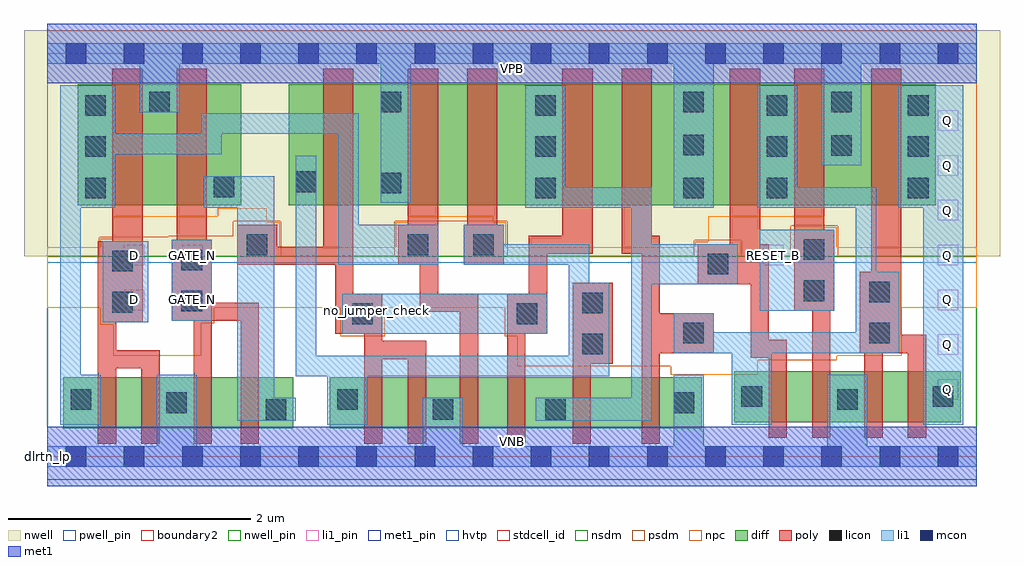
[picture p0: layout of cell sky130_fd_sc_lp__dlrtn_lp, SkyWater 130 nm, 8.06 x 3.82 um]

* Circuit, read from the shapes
.subckt sky130_fd_sc_lp__dlrtn_lp D GATE_N Q RESET_B VGND VNB VPB VPWR
XM1 n1 D n2 VNB sky130_fd_pr__nfet_01v8 w=0.42 l=0.15
XM2 VGND D n1 VNB sky130_fd_pr__nfet_01v8 w=0.42 l=0.15
XM3 n3 GATE_N VGND VNB sky130_fd_pr__nfet_01v8 w=0.42 l=0.15
XM4 n4 GATE_N n3 VNB sky130_fd_pr__nfet_01v8 w=0.42 l=0.15
XM5 n5 n4 n6 VNB sky130_fd_pr__nfet_01v8 w=0.42 l=0.15
XM6 VGND n4 n5 VNB sky130_fd_pr__nfet_01v8 w=0.42 l=0.15
XM7 n7 n2 VGND VNB sky130_fd_pr__nfet_01v8 w=0.42 l=0.15
XM8 n8 n4 n7 VNB sky130_fd_pr__nfet_01v8 w=0.42 l=0.15
XM9 n9 n6 n8 VNB sky130_fd_pr__nfet_01v8 w=0.42 l=0.15
XM10 VGND n10 n9 VNB sky130_fd_pr__nfet_01v8 w=0.42 l=0.15
XM11 n11 n8 n10 VNB sky130_fd_pr__nfet_01v8 w=0.42 l=0.15
XM12 VGND RESET_B n11 VNB sky130_fd_pr__nfet_01v8 w=0.42 l=0.15
XM13 n12 n10 VGND VNB sky130_fd_pr__nfet_01v8 w=0.42 l=0.15
XM14 Q n10 n12 VNB sky130_fd_pr__nfet_01v8 w=0.42 l=0.15
XM15 VPWR D n2 VPB sky130_fd_pr__pfet_01v8_hvt w=1 l=0.25
XM16 n4 GATE_N VPWR VPB sky130_fd_pr__pfet_01v8_hvt w=1 l=0.25
XM17 VPWR n4 n6 VPB sky130_fd_pr__pfet_01v8_hvt w=1 l=0.25
XM18 n13 n2 VPWR VPB sky130_fd_pr__pfet_01v8_hvt w=1 l=0.25
XM19 n8 n6 n13 VPB sky130_fd_pr__pfet_01v8_hvt w=1 l=0.25
XM20 n14 n4 n8 VPB sky130_fd_pr__pfet_01v8_hvt w=1 l=0.25
XM21 VPWR n10 n14 VPB sky130_fd_pr__pfet_01v8_hvt w=1 l=0.25
XM22 n10 n8 VPWR VPB sky130_fd_pr__pfet_01v8_hvt w=1 l=0.25
XM23 VPWR RESET_B n10 VPB sky130_fd_pr__pfet_01v8_hvt w=1 l=0.25
XM24 Q n10 VPWR VPB sky130_fd_pr__pfet_01v8_hvt w=1 l=0.25
.ends

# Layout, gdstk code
import gdstk
lib = gdstk.Library(unit=1e-6, precision=1e-09)
def R(c, l, rs):  # rectangles x0, y0, x1, y1
    for r in rs: c.add(gdstk.rectangle(r[:2], r[2:], *l))
def A(c, l, x, y, w, h, nx, ny, dx, dy):  # array of equal rectangles
    R(c, l, [(x+i*dx, y+j*dy, x+i*dx+w, y+j*dy+h) for i in range(nx) for j in range(ny)])
def P(c, l, *ps):  # polygons
    for p in ps: c.add(gdstk.Polygon(p, *l))
nwell_pin = (64, 16)
nwell = (64, 20)
diff = (65, 20)
poly = (66, 20)
licon = (66, 44)
li1_pin = (67, 16)
li1 = (67, 20)
mcon = (67, 44)
met1_pin = (68, 16)
met1 = (68, 20)
hvtp = (78, 44)
stdcell_id = (81, 4)
nsdm = (93, 44)
psdm = (94, 20)
npc = (95, 20)
pwell_pin = (122, 16)
boundary2 = (236, 0)

sky130_fd_sc_lp__dlrtn_l = lib.new_cell('sky130_fd_sc_lp__dlrtn_lp')
R(sky130_fd_sc_lp__dlrtn_l, nwell_pin, [(0,3.085,7.68,3.33)])
R(sky130_fd_sc_lp__dlrtn_l, nwell, [(-0.19,1.655,7.87,3.52)])
R(sky130_fd_sc_lp__dlrtn_l, diff, [(0.135,0.235,2.035,0.655), (2.335,0.235,5.405,0.655), (5.675,0.285,7.545,0.705), (0.255,2.075,1.605,3.075), (1.995,2.075,7.34,3.075)])
P(sky130_fd_sc_lp__dlrtn_l, poly, [(0.93,0.88),(0.57,0.88),(0.57,1.11),(0.79,1.11),(0.79,3.205),(0.54,3.205),(0.54,1.78),(0.42,1.78),(0.42,0.105),(0.57,0.105),(0.57,0.73),(0.78,0.73),(0.78,0.105),(0.93,0.105)],
  [(1.75,1.27),(1.36,1.27),(1.36,1.79),(1.32,1.79),(1.32,3.205),(1.07,3.205),(1.07,1.79),(1.03,1.79),(1.03,1.12),(1.21,1.12),(1.21,0.105),(1.36,0.105),(1.36,1.12),(1.6,1.12),(1.6,0.105),(1.75,0.105)],
  [(3.13,0.955),(2.77,0.955),(2.77,1.345),(2.53,1.345),(2.53,3.205),(2.28,3.205),(2.28,1.735),(1.9,1.735),(1.9,1.915),(1.57,1.915),(1.57,1.585),(2.38,1.585),(2.38,1.015),(2.62,1.015),(2.62,0.105),(2.77,0.105),(2.77,0.805),(2.98,0.805),(2.98,0.105),(3.13,0.105)],
  [(3.56,1.345),(3.23,1.345),(3.23,3.205),(2.98,3.205),(2.98,1.915),(2.9,1.915),(2.9,1.585),(3.08,1.585),(3.08,1.195),(3.41,1.195),(3.41,0.105),(3.56,0.105)],
  [(3.77,1.915),(3.72,1.915),(3.72,3.205),(3.47,3.205),(3.47,1.915),(3.44,1.915),(3.44,1.585),(3.77,1.585)],
  [(4.505,3.205),(4.255,3.205),(4.255,1.825),(3.98,1.825),(3.98,1.345),(3.8,1.345),(3.8,0.105),(3.95,0.105),(3.95,1.015),(4.13,1.015),(4.13,1.675),(4.505,1.675)],
  [(4.67,1.435),(4.34,1.435),(4.34,0.105),(4.49,0.105),(4.49,0.765),(4.67,0.765)],
  [(5.505,1.185),(5.06,1.185),(5.06,1.825),(4.995,1.825),(4.995,3.205),(4.745,3.205),(4.745,1.675),(4.91,1.675),(4.91,0.105),(5.06,0.105),(5.06,0.855),(5.505,0.855)],
  [(6.11,0.965),(5.96,0.965),(5.96,1.755),(5.89,1.755),(5.89,3.205),(5.64,3.205),(5.64,1.755),(5.375,1.755),(5.375,1.425),(5.81,1.425),(5.81,0.815),(5.96,0.815),(5.96,0.155),(6.11,0.155)],
  [(6.5,1.875),(6.42,1.875),(6.42,3.205),(6.17,3.205),(6.17,1.205),(6.32,1.205),(6.32,0.155),(6.47,0.155),(6.47,1.205),(6.5,1.205)],
  [(7.26,1.005),(7.055,1.005),(7.055,3.205),(6.805,3.205),(6.805,1.525),(6.71,1.525),(6.71,0.855),(6.75,0.855),(6.75,0.155),(6.9,0.155),(6.9,0.855),(7.11,0.855),(7.11,0.155),(7.26,0.155)])
A(sky130_fd_sc_lp__dlrtn_l, licon, 0.315, 2.135, 0.17, 0.17, 1, 3, 0, 0.34)
A(sky130_fd_sc_lp__dlrtn_l, licon, 4.03, 2.135, 0.17, 0.17, 1, 3, 0, 0.34)
A(sky130_fd_sc_lp__dlrtn_l, licon, 5.255, 2.135, 0.17, 0.17, 1, 3, 0, 0.355)
A(sky130_fd_sc_lp__dlrtn_l, licon, 5.945, 2.135, 0.17, 0.17, 1, 3, 0, 0.34)
A(sky130_fd_sc_lp__dlrtn_l, licon, 7.11, 2.135, 0.17, 0.17, 1, 3, 0, 0.34)
R(sky130_fd_sc_lp__dlrtn_l, licon, [(1.805,0.305,1.975,0.475), (3.185,0.305,3.355,0.475), (4.115,0.305,4.285,0.475), (0.985,0.36,1.155,0.53), (5.175,0.36,5.345,0.53), (0.195,0.385,0.365,0.555), (2.395,0.385,2.565,0.555), (6.525,0.385,6.695,0.555), (5.735,0.41,5.905,0.58), (7.315,0.41,7.485,0.58), (4.42,0.845,4.59,1.015), (5.255,0.935,5.425,1.105), (6.79,0.935,6.96,1.105), (2.52,1.095,2.69,1.265), (3.88,1.095,4.05,1.265), (4.42,1.185,4.59,1.355), (0.54,1.19,0.71,1.36), (1.11,1.2,1.28,1.37), (6.79,1.275,6.96,1.445), (6.25,1.285,6.42,1.455), (5.455,1.505,5.625,1.675), (0.54,1.53,0.71,1.7), (1.11,1.54,1.28,1.71), (6.25,1.625,6.42,1.795), (1.65,1.665,1.82,1.835), (2.98,1.665,3.15,1.835), (3.52,1.665,3.69,1.835), (1.375,2.14,1.545,2.31), (2.755,2.175,2.925,2.345), (2.055,2.185,2.225,2.355), (6.475,2.485,6.645,2.655), (0.845,2.845,1.015,3.015), (2.755,2.845,2.925,3.015), (6.475,2.845,6.645,3.015)])
A(sky130_fd_sc_lp__dlrtn_l, li1_pin, 7.355, 0.47, 0.17, 0.17, 1, 7, 0, 0.37)
R(sky130_fd_sc_lp__dlrtn_l, li1_pin, [(0.635,1.21,0.805,1.38), (1.115,1.21,1.285,1.38), (0.635,1.58,0.805,1.75), (1.115,1.58,1.285,1.75), (5.915,1.58,6.085,1.75)])
R(sky130_fd_sc_lp__dlrtn_l, li1, [(2.44,1.015,4.13,1.345), (0.46,1.11,0.835,1.78), (1.03,1.12,1.36,1.79), (5.885,1.205,6.5,1.875)])
P(sky130_fd_sc_lp__dlrtn_l, li1, [(2.755,2.095),(2.755,3.245),(1.095,3.245),(1.095,2.845),(0.765,2.845),(0.765,3.245),(0,3.245),(0,3.415),(7.68,3.415),(7.68,3.245),(6.725,3.245),(6.725,2.405),(6.395,2.405),(6.395,3.245),(5.505,3.245),(5.505,2.055),(5.175,2.055),(5.175,3.245),(3.005,3.245),(3.005,2.095)],
  [(5.175,0.085),(5.175,0.675),(5.425,0.675),(5.425,0.085),(6.445,0.085),(6.445,0.675),(6.775,0.675),(6.775,0.085),(7.68,0.085),(7.68,-0.085),(0,-0.085),(0,0.085),(0.905,0.085),(0.905,0.675),(1.235,0.675),(1.235,0.085),(3.105,0.085),(3.105,0.485),(3.435,0.485),(3.435,0.085)],
  [(2.405,1.585),(2.405,2.665),(1.445,2.665),(1.445,2.495),(0.565,2.495),(0.565,2.055),(0.28,2.055),(0.28,0.675),(0.445,0.675),(0.445,0.265),(0.11,0.265),(0.11,3.065),(0.565,3.065),(0.565,2.665),(1.275,2.665),(1.275,2.835),(2.575,2.835),(2.575,1.915),(3.23,1.915),(3.23,1.585)],
  [(1.57,2.055),(1.295,2.055),(1.295,2.315),(1.875,2.315),(1.875,0.485),(2.055,0.485),(2.055,0.295),(1.57,0.295)],
  [(2.055,0.665),(2.055,2.485),(2.225,2.485),(2.225,0.835),(4.31,0.835),(4.31,1.585),(3.44,1.585),(3.44,1.915),(3.77,1.915),(3.77,1.755),(4.48,1.755),(4.48,1.435),(4.645,1.435),(4.645,0.665),(2.645,0.665),(2.645,0.265),(2.315,0.265),(2.315,0.665)],
  [(4.825,0.485),(4.825,2.055),(3.95,2.055),(3.95,3.065),(4.28,3.065),(4.28,2.225),(4.995,2.225),(4.995,1.755),(5.705,1.755),(5.705,1.425),(4.995,1.425),(4.995,0.295),(4.035,0.295),(4.035,0.485)],
  [(6.85,1.525),(7.04,1.525),(7.04,0.855),(5.985,0.855),(5.985,0.265),(5.655,0.265),(5.655,0.855),(5.175,0.855),(5.175,1.185),(5.505,1.185),(5.505,1.025),(6.68,1.025),(6.68,2.055),(5.865,2.055),(5.865,3.065),(6.195,3.065),(6.195,2.225),(6.85,2.225)],
  [(7.03,2.055),(7.03,3.065),(7.565,3.065),(7.565,0.265),(7.235,0.265),(7.235,2.055)])
A(sky130_fd_sc_lp__dlrtn_l, mcon, 0.155, -0.085, 0.17, 0.17, 16, 2, 0.48, 3.33)
R(sky130_fd_sc_lp__dlrtn_l, met1_pin, [(0,0,7.68,0.245), (0,3.085,7.68,3.33)])
R(sky130_fd_sc_lp__dlrtn_l, met1, [(0,-0.245,7.68,0.245), (0,3.085,7.68,3.575)])
R(sky130_fd_sc_lp__dlrtn_l, hvtp, [(0,1.6,7.68,3.33)])
R(sky130_fd_sc_lp__dlrtn_l, stdcell_id, [(0,0,7.68,3.33)])
R(sky130_fd_sc_lp__dlrtn_l, nsdm, [(0,-0.19,7.68,1.655)])
P(sky130_fd_sc_lp__dlrtn_l, psdm, [(7.68,3.52),(0,3.52),(0,1.655),(0.43,1.655),(0.43,1.81),(1,1.81),(1,1.82),(1.54,1.82),(1.54,1.945),(1.93,1.945),(1.93,1.655),(2.87,1.655),(2.87,1.945),(3.8,1.945),(3.8,1.655),(5.345,1.655),(5.345,1.785),(5.735,1.785),(5.735,1.655),(6.14,1.655),(6.14,1.905),(6.53,1.905),(6.53,1.655),(7.68,1.655)])
P(sky130_fd_sc_lp__dlrtn_l, npc, [(7.68,1.73),(6.52,1.73),(6.52,1.895),(6.415,1.895),(6.415,1.985),(5.46,1.985),(5.46,1.775),(5.355,1.775),(5.355,1.73),(3.79,1.73),(3.79,1.935),(3.685,1.935),(3.685,1.985),(2.985,1.985),(2.985,1.935),(2.88,1.935),(2.88,1.73),(1.92,1.73),(1.92,1.935),(1.815,1.935),(1.815,2.05),(1.41,2.05),(1.41,1.985),(0.545,1.985),(0.545,1.8),(0.44,1.8),(0.44,1.73),(0,1.73),(0,1.23),(0.44,1.23),(0.44,1.09),(0.545,1.09),(0.545,0.835),(1.275,0.835),(1.275,1.1),(1.38,1.1),(1.38,1.23),(2.42,1.23),(2.42,0.995),(2.79,0.995),(2.79,1.23),(3.78,1.23),(3.78,0.995),(3.885,0.995),(3.885,0.745),(5.15,0.745),(5.15,0.675),(5.87,0.675),(5.87,0.795),(6.52,0.795),(6.52,0.835),(7.06,0.835),(7.06,1.23),(7.68,1.23)])
R(sky130_fd_sc_lp__dlrtn_l, pwell_pin, [(0,0,7.68,0.245)])
R(sky130_fd_sc_lp__dlrtn_l, boundary2, [(0,0,7.68,3.33)])
sky130_fd_sc_lp__dlrtn_l.add(gdstk.Label('VNB', (3.84,0.123), layer=64, texttype=59))
sky130_fd_sc_lp__dlrtn_l.add(gdstk.Label('VPB', (3.84,3.208), layer=64, texttype=5))
sky130_fd_sc_lp__dlrtn_l.add(gdstk.Label('dlrtn_lp', (0,0), layer=83, texttype=44))
sky130_fd_sc_lp__dlrtn_l.add(gdstk.Label('no_jumper_check', (2.72,1.21), layer=83, texttype=44))
sky130_fd_sc_lp__dlrtn_l.add(gdstk.Label('VPWR', (3.84,3.208), layer=68, texttype=5))
sky130_fd_sc_lp__dlrtn_l.add(gdstk.Label('VGND', (3.84,0.123), layer=68, texttype=5))
sky130_fd_sc_lp__dlrtn_l.add(gdstk.Label('D', (0.72,1.295), layer=67, texttype=5))
sky130_fd_sc_lp__dlrtn_l.add(gdstk.Label('D', (0.72,1.665), layer=67, texttype=5))
sky130_fd_sc_lp__dlrtn_l.add(gdstk.Label('RESET_B', (6,1.665), layer=67, texttype=5))
sky130_fd_sc_lp__dlrtn_l.add(gdstk.Label('GATE_N', (1.2,1.295), layer=67, texttype=5))
sky130_fd_sc_lp__dlrtn_l.add(gdstk.Label('GATE_N', (1.2,1.665), layer=67, texttype=5))
sky130_fd_sc_lp__dlrtn_l.add(gdstk.Label('Q', (7.44,0.555), layer=67, texttype=5))
sky130_fd_sc_lp__dlrtn_l.add(gdstk.Label('Q', (7.44,0.925), layer=67, texttype=5))
sky130_fd_sc_lp__dlrtn_l.add(gdstk.Label('Q', (7.44,1.295), layer=67, texttype=5))
sky130_fd_sc_lp__dlrtn_l.add(gdstk.Label('Q', (7.44,1.665), layer=67, texttype=5))
sky130_fd_sc_lp__dlrtn_l.add(gdstk.Label('Q', (7.44,2.035), layer=67, texttype=5))
sky130_fd_sc_lp__dlrtn_l.add(gdstk.Label('Q', (7.44,2.405), layer=67, texttype=5))
sky130_fd_sc_lp__dlrtn_l.add(gdstk.Label('Q', (7.44,2.775), layer=67, texttype=5))

lib.write_gds('sky130_fd_sc_lp__dlrtn_lp.gds')
